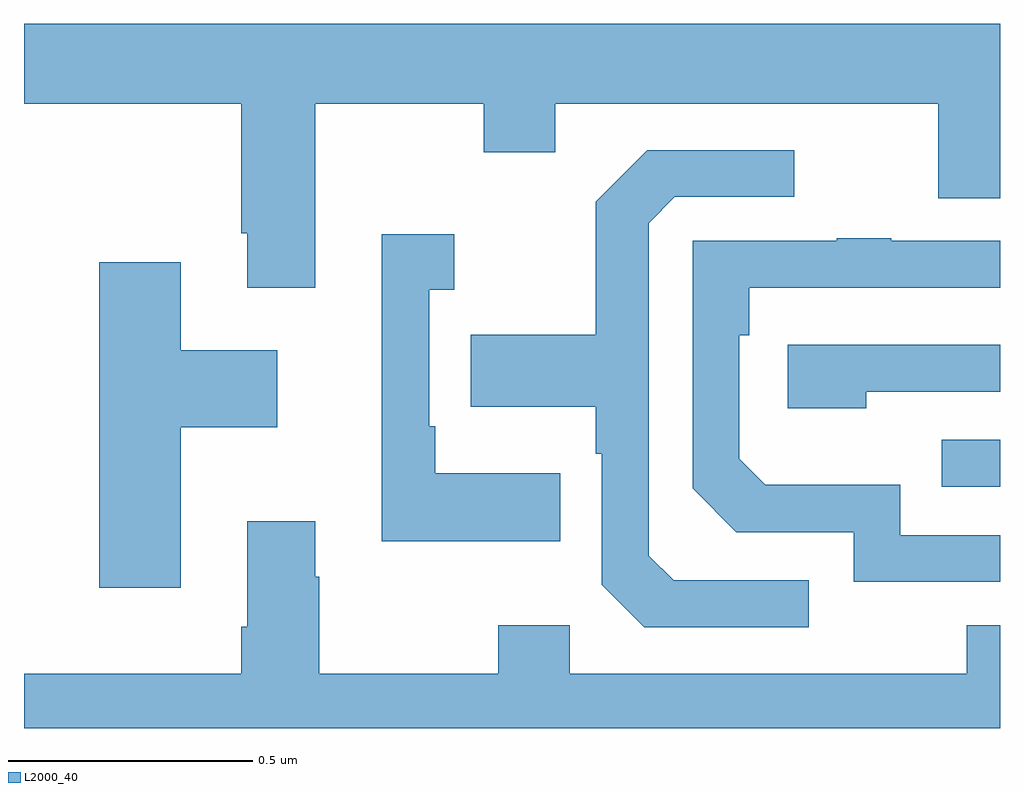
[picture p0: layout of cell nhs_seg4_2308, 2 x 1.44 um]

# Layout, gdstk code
import gdstk
lib = gdstk.Library(unit=1e-6, precision=1e-09)
def R(c, l, rs):  # rectangles x0, y0, x1, y1
    for r in rs: c.add(gdstk.rectangle(r[:2], r[2:], *l))
def P(c, l, *ps):  # polygons
    for p in ps: c.add(gdstk.Polygon(p, *l))
L2000_40 = (2000, 40)

nhs_seg4_2308 = lib.new_cell('nhs_seg4_2308')
R(nhs_seg4_2308, L2000_40, [(140.881,769.395,141,769.491)])
P(nhs_seg4_2308, L2000_40, [(139.597,770.18),(139.942,770.18),(139.942,770.081),(140.089,770.081),(140.089,770.18),(140.873,770.18),(140.873,769.986),(141,769.986),(141,770.344),(139,770.344),(139,770.18),(139.445,770.18),(139.445,769.915),(139.457,769.915),(139.457,769.803),(139.597,769.803)],
  [(140.608,769.203),(140.331,769.203),(140.28,769.254),(140.28,769.935),(140.334,769.989),(140.578,769.989),(140.578,770.085),(140.277,770.085),(140.172,769.979),(140.172,769.707),(139.915,769.707),(139.915,769.559),(140.172,769.559),(140.172,769.463),(140.184,769.463),(140.184,769.194),(140.271,769.107),(140.608,769.107)],
  [(140.099,769.423),(139.843,769.423),(139.843,769.519),(139.83,769.519),(139.83,769.799),(139.882,769.799),(139.882,769.912),(139.733,769.912),(139.733,769.283),(140.099,769.283)],
  [(141,769.296),(140.796,769.296),(140.796,769.399),(140.519,769.399),(140.466,769.452),(140.466,769.706),(140.486,769.706),(140.486,769.803),(141,769.803),(141,769.899),(140.777,769.899),(140.777,769.904),(140.665,769.904),(140.665,769.899),(140.37,769.899),(140.37,769.392),(140.46,769.302),(140.7,769.302),(140.7,769.2),(141,769.2)],
  [(139.321,769.517),(139.519,769.517),(139.519,769.675),(139.321,769.675),(139.321,769.855),(139.154,769.855),(139.154,769.188),(139.321,769.188)],
  [(140.726,769.59),(141,769.59),(141,769.686),(140.565,769.686),(140.565,769.556),(140.726,769.556)],
  [(141,769.111),(140.932,769.111),(140.932,769.012),(140.118,769.012),(140.118,769.111),(139.972,769.111),(139.972,769.012),(139.605,769.012),(139.605,769.211),(139.597,769.211),(139.597,769.324),(139.457,769.324),(139.457,769.108),(139.445,769.108),(139.445,769.012),(139,769.012),(139,768.9),(141,768.9)])

lib.write_gds('nhs_seg4_2308.gds')
